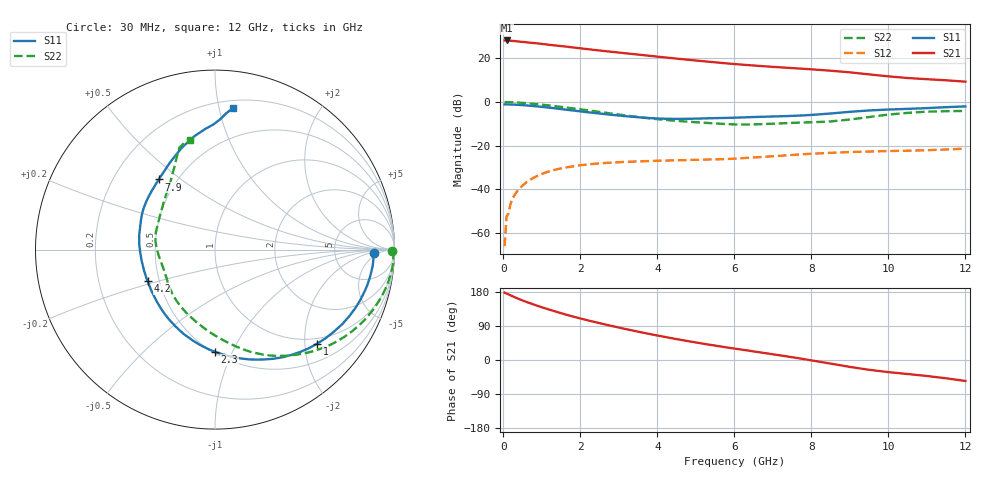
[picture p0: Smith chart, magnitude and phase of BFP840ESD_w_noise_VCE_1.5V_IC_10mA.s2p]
! Infineon Technologies  Discrete & RF Semiconductors
! BFP840ESD
! VCE =  1.5 V,  IC =  10 mA
! Common Emitter S-Parameters:  May 2012
# GHz  S  MA  R  50
!  f  S11  S21  S12  S22
! GHz  MAG  ANG  MAG  ANG  MAG  ANG  MAG  ANG
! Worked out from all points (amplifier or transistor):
!   93 points, 30 MHz to 12 GHz, reference 50 ohm
!   highest |S21| = 28.2 dB at 80 MHz (marker M1)
!   |S21| within 3 dB of that: start of sweep to 1.713 GHz
!   unconditionally stable (mu >= 1): 5.487 GHz to 9.698 GHz
!   at 1.1 GHz: K = 0.28, MSG = 29.3 dB, |S12| = -32.3 dB
!   at 4.2 GHz: K = 0.81, MSG = 23.6 dB, |S12| = -26.8 dB
!   at 12 GHz: K = 0.73, MSG = 15.3 dB, |S12| = -21.3 dB
!   lowest NFmin = 0.81 dB at 450 MHz
!   S11 on the Smith chart (normalised r, x): 30 MHz: 16, -3; 1 GHz: 0.87, -2.28; 2.3 GHz: 0.51, -0.86; 4.2 GHz: 0.43, -0.18; 7.9 GHz: 0.40, +0.42; 12 GHz: 0.26, +1.10
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0.03  0.8849 -1.3  25.68 177.8  0.0005 100.3  0.9881 -0.4
0.08  0.8841 -3.6  25.74 175.4  0.0024 82.1  0.995 -2.5
0.28  0.8721 -12.7  24.95 166.2  0.0072 82.9  0.9833 -10.2
0.5  0.8484 -22.2  23.85 157.0  0.0123 76.0  0.9552 -17.9
0.8  0.805 -34.6  22.46 145.9  0.0188 66.6  0.9069 -27.7
1  0.7739 -42.6  21.43 139.1  0.0225 62.1  0.8705 -33.8
1.3  0.7246 -54.1  19.99 129.6  0.0275 55.5  0.812 -42.5
1.6  0.6724 -65.5  18.74 120.4  0.0316 49.4  0.7536 -50.5
2.1  0.5966 -82.9  16.61 107.0  0.0364 41.3  0.6621 -62.9
2.3  0.5697 -89.9  15.86 102.0  0.0381 38.6  0.6272 -67.4
2.8  0.511 -106.9  14.18 90.1  0.0408 33.0  0.546 -78.6
3.2  0.4725 -120.5  13.02 81.1  0.0427 29.5  0.4904 -87.8
3.7  0.4355 -137.7  11.7 70.6  0.0443 25.8  0.4323 -100.1
4.1  0.4172 -151.4  10.73 62.7  0.0453 23.5  0.3976 -110.4
4.2  0.4148 -154.8  10.52 60.7  0.0456 23.0  0.3899 -113.0
5.2  0.422 176.9  8.601 42.8  0.0479 19.7  0.3361 -136.8
6.1  0.4409 159.8  7.308 28.7  0.0512 19.3  0.3068 -156.9
7.9  0.5015 128.8  5.694 0.7  0.0647 12.9  0.3426 164.3
8.5  0.5471 117.1  5.221 -9.5  0.0686 9.0  0.3594 148.8
9.5  0.642 100.3  4.3 -25.9  0.0735 1.9  0.4541 123.0
10.5  0.6985 90.6  3.552 -37.0  0.0767 -3.8  0.5649 111.9
12  0.7941 82.8  2.93 -55.3  0.0857 -10.5  0.6256 102.8
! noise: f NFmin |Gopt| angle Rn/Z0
0.45  0.81  0.27  1  0.13
0.9  0.82  0.27  5  0.13
1.5  0.83  0.27  11  0.12
1.9  0.83  0.26  16  0.12
2.4  0.84  0.22  24  0.12
3.5  0.85  0.14  60  0.1
5.5  0.93  0.08  152  0.09
8  1.07  0.3  -125  0.11
10  1.21  0.47  -86  0.18
12  1.42  0.6  -71  0.28
